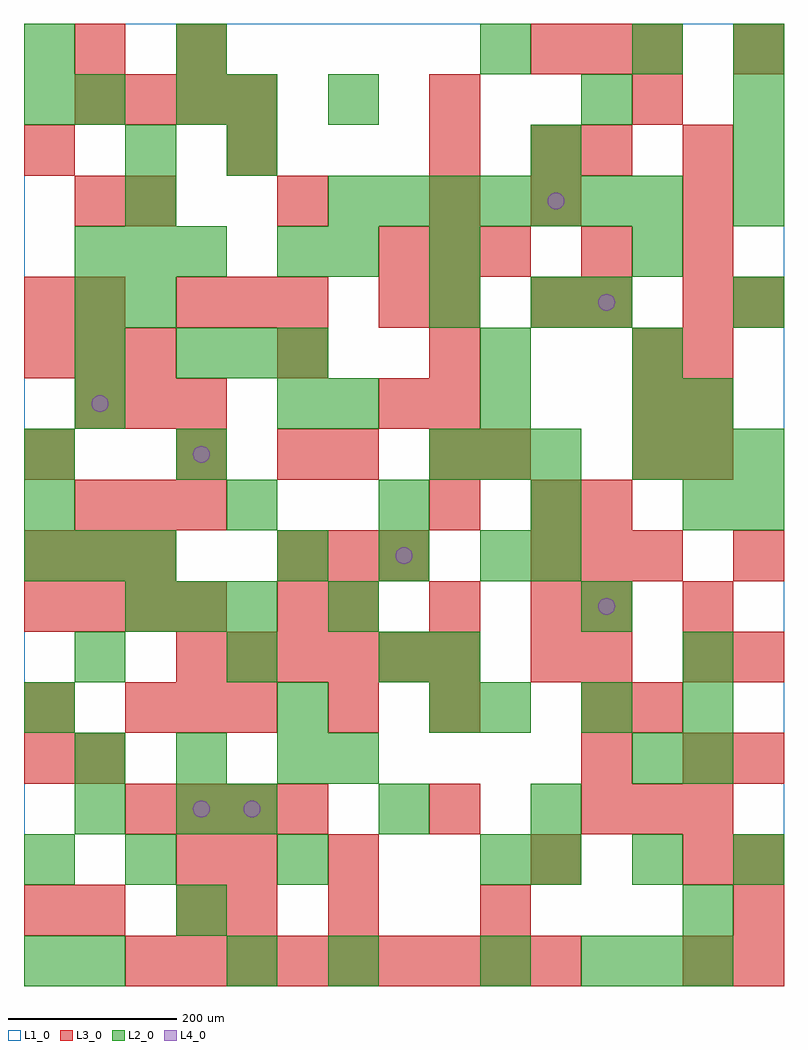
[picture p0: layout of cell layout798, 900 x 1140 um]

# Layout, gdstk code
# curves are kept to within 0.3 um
import gdstk
lib = gdstk.Library(unit=1e-6, precision=1e-09)
def R(c, l, rs):  # rectangles x0, y0, x1, y1
    for r in rs: c.add(gdstk.rectangle(r[:2], r[2:], *l))
def A(c, l, x, y, w, h, nx, ny, dx, dy):  # array of equal rectangles
    R(c, l, [(x+i*dx, y+j*dy, x+i*dx+w, y+j*dy+h) for i in range(nx) for j in range(ny)])
def P(c, l, *ps):  # polygons
    for p in ps: c.add(gdstk.Polygon(p, *l))
L1_0 = (1, 0)
L2_0 = (2, 0)
L3_0 = (3, 0)
L4_0 = (4, 0)

layout798 = lib.new_cell('layout798')
R(layout798, L1_0, [(0,0,900,1140)])
A(layout798, L2_0, 660, 0, 60, 60, 3, 1, 60, 0)
A(layout798, L2_0, 600, 120, 60, 60, 3, 1, 120, 0)
A(layout798, L2_0, 180, 180, 60, 60, 1, 3, 0, 420)
A(layout798, L2_0, 240, 180, 60, 60, 3, 1, 180, 0)
A(layout798, L2_0, 60, 240, 60, 60, 3, 1, 120, 0)
A(layout798, L2_0, 540, 300, 60, 60, 3, 1, 120, 0)
A(layout798, L2_0, 60, 360, 60, 60, 3, 1, 180, 0)
A(layout798, L2_0, 120, 420, 60, 60, 3, 1, 60, 0)
A(layout798, L2_0, 0, 480, 60, 60, 3, 1, 60, 0)
A(layout798, L2_0, 300, 480, 60, 60, 3, 1, 120, 0)
A(layout798, L2_0, 240, 540, 60, 60, 4, 1, 180, 0)
A(layout798, L2_0, 480, 600, 60, 60, 3, 1, 60, 0)
A(layout798, L2_0, 720, 600, 60, 60, 3, 1, 60, 0)
A(layout798, L2_0, 60, 660, 60, 60, 1, 3, 0, 60)
A(layout798, L2_0, 360, 660, 60, 60, 3, 1, 180, 0)
A(layout798, L2_0, 180, 720, 60, 60, 3, 1, 60, 0)
A(layout798, L2_0, 60, 840, 60, 60, 3, 1, 60, 0)
A(layout798, L2_0, 360, 900, 60, 60, 7, 1, 60, 0)
A(layout798, L2_0, 840, 900, 60, 60, 1, 4, 0, 60)
R(layout798, L2_0, [(0,0,60,60), (60,0,120,60), (240,0,300,60), (360,0,420,60), (540,0,600,60), (180,60,240,120), (780,60,840,120), (0,120,60,180), (120,120,180,180), (300,120,360,180), (540,120,600,180), (60,180,120,240), (360,240,420,300), (720,240,780,300), (780,240,840,300), (0,300,60,360), (300,300,360,360), (480,300,540,360), (480,360,540,420), (780,360,840,420), (360,420,420,480), (660,420,720,480), (600,480,660,540), (0,540,60,600), (840,540,900,600), (0,600,60,660), (300,660,360,720), (780,660,840,720), (540,720,600,780), (720,720,780,780), (120,780,180,840), (480,780,540,840), (600,780,660,840), (660,780,720,840), (840,780,900,840), (300,840,360,900), (360,840,420,900), (480,840,540,900), (720,840,780,900), (120,900,180,960), (120,960,180,1020), (240,960,300,1020), (600,960,660,1020), (0,1020,60,1080), (60,1020,120,1080), (240,1020,300,1080), (360,1020,420,1080), (660,1020,720,1080), (0,1080,60,1140), (180,1080,240,1140), (540,1080,600,1140), (720,1080,780,1140)])
A(layout798, L3_0, 120, 0, 60, 60, 9, 1, 60, 0)
A(layout798, L3_0, 780, 0, 60, 60, 1, 4, 0, 120)
A(layout798, L3_0, 840, 0, 60, 60, 1, 3, 0, 60)
A(layout798, L3_0, 180, 120, 60, 60, 1, 3, 0, 480)
A(layout798, L3_0, 120, 180, 60, 60, 4, 1, 60, 0)
A(layout798, L3_0, 660, 180, 60, 60, 3, 1, 60, 0)
A(layout798, L3_0, 660, 240, 60, 60, 1, 4, 0, 60)
A(layout798, L3_0, 840, 240, 60, 60, 1, 3, 0, 120)
A(layout798, L3_0, 120, 300, 60, 60, 3, 1, 60, 0)
A(layout798, L3_0, 180, 360, 60, 60, 6, 1, 60, 0)
A(layout798, L3_0, 0, 420, 60, 60, 4, 1, 60, 0)
A(layout798, L3_0, 360, 420, 60, 60, 3, 1, 120, 0)
A(layout798, L3_0, 0, 480, 60, 60, 3, 2, 60, 240)
A(layout798, L3_0, 300, 480, 60, 60, 3, 1, 60, 0)
A(layout798, L3_0, 600, 480, 60, 60, 3, 2, 60, 600)
A(layout798, L3_0, 60, 540, 60, 60, 3, 2, 60, 120)
A(layout798, L3_0, 480, 540, 60, 60, 1, 5, 0, 60)
A(layout798, L3_0, 720, 600, 60, 60, 1, 3, 0, 60)
A(layout798, L3_0, 780, 600, 60, 60, 1, 7, 0, 60)
A(layout798, L3_0, 180, 780, 60, 60, 3, 1, 60, 0)
A(layout798, L3_0, 420, 840, 60, 60, 3, 1, 60, 0)
A(layout798, L3_0, 120, 900, 60, 60, 3, 1, 180, 0)
A(layout798, L3_0, 0, 960, 60, 60, 3, 1, 240, 0)
A(layout798, L3_0, 60, 1020, 60, 60, 4, 1, 60, 0)
R(layout798, L3_0, [(0,60,60,120), (60,60,120,120), (180,60,240,120), (240,60,300,120), (360,60,420,120), (540,60,600,120), (240,120,300,180), (360,120,420,180), (600,120,660,180), (480,180,540,240), (0,240,60,300), (60,240,120,300), (0,300,60,360), (360,300,420,360), (480,300,540,360), (720,300,780,360), (600,360,660,420), (300,420,360,480), (780,420,840,480), (600,540,660,600), (660,540,720,600), (0,600,60,660), (300,600,360,660), (360,600,420,660), (540,600,600,660), (420,660,480,720), (300,720,360,780), (0,780,60,840), (60,780,120,840), (420,780,480,840), (600,780,660,840), (660,780,720,840), (840,780,900,840), (660,840,720,900), (60,900,120,960), (600,900,660,960), (600,960,660,1020), (660,960,720,1020), (480,1020,540,1080), (720,1020,780,1080), (60,1080,120,1140), (840,1080,900,1140)])
P(layout798, L4_0, [(100,690),(99.239,693.827),(97.071,697.071),(93.827,699.239),(90,700),(86.173,699.239),(82.929,697.071),(80.761,693.827),(80,690),(80.761,686.173),(82.929,682.929),(86.173,680.761),(90,680),(93.827,680.761),(97.071,682.929),(99.239,686.173)],
  [(220,210),(219.239,213.827),(217.071,217.071),(213.827,219.239),(210,220),(206.173,219.239),(202.929,217.071),(200.761,213.827),(200,210),(200.761,206.173),(202.929,202.929),(206.173,200.761),(210,200),(213.827,200.761),(217.071,202.929),(219.239,206.173)],
  [(220,630),(219.239,633.827),(217.071,637.071),(213.827,639.239),(210,640),(206.173,639.239),(202.929,637.071),(200.761,633.827),(200,630),(200.761,626.173),(202.929,622.929),(206.173,620.761),(210,620),(213.827,620.761),(217.071,622.929),(219.239,626.173)],
  [(280,210),(279.239,213.827),(277.071,217.071),(273.827,219.239),(270,220),(266.173,219.239),(262.929,217.071),(260.761,213.827),(260,210),(260.761,206.173),(262.929,202.929),(266.173,200.761),(270,200),(273.827,200.761),(277.071,202.929),(279.239,206.173)],
  [(460,510),(459.239,513.827),(457.071,517.071),(453.827,519.239),(450,520),(446.173,519.239),(442.929,517.071),(440.761,513.827),(440,510),(440.761,506.173),(442.929,502.929),(446.173,500.761),(450,500),(453.827,500.761),(457.071,502.929),(459.239,506.173)],
  [(640,930),(639.239,933.827),(637.071,937.071),(633.827,939.239),(630,940),(626.173,939.239),(622.929,937.071),(620.761,933.827),(620,930),(620.761,926.173),(622.929,922.929),(626.173,920.761),(630,920),(633.827,920.761),(637.071,922.929),(639.239,926.173)],
  [(700,450),(699.239,453.827),(697.071,457.071),(693.827,459.239),(690,460),(686.173,459.239),(682.929,457.071),(680.761,453.827),(680,450),(680.761,446.173),(682.929,442.929),(686.173,440.761),(690,440),(693.827,440.761),(697.071,442.929),(699.239,446.173)],
  [(700,810),(699.239,813.827),(697.071,817.071),(693.827,819.239),(690,820),(686.173,819.239),(682.929,817.071),(680.761,813.827),(680,810),(680.761,806.173),(682.929,802.929),(686.173,800.761),(690,800),(693.827,800.761),(697.071,802.929),(699.239,806.173)])

lib.write_gds('layout798.gds')
